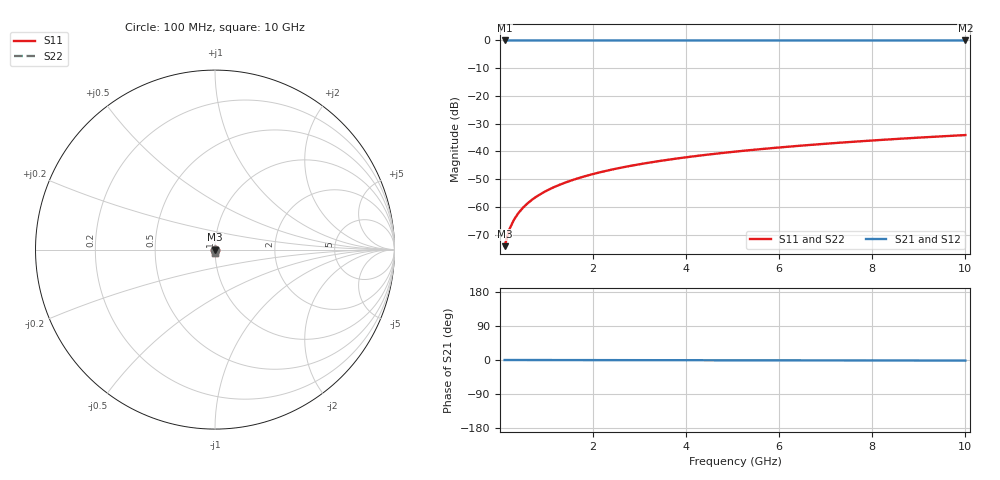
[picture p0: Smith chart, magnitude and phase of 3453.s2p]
# Hz S RI R 50.00
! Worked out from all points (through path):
!   100 points, 100 MHz to 10 GHz, reference 50 ohm
!   highest |S21| = 0.00 dB at 100 MHz (marker M1); lowest = 0.0 dB at 10 GHz (marker M2)
!   lowest |S11| = -74.2 dB at 100 MHz (marker M3), VSWR 1.00, Z = 50 - j0.0195 ohm
!   |S11| at or under -10 dB: start of sweep to end of sweep
!   |S22| runs from -74.2 to -34.1 dB; largest |S21 - S12| = 0
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1e8  1.51e-05 -0.000195  1 -0.000256  1 -0.000256  1.51e-05 -0.000195
2e8  1.49e-05 -0.000391  1 -0.000512  1 -0.000512  1.49e-05 -0.000391
3e8  1.45e-05 -0.000586  1 -0.000768  1 -0.000768  1.45e-05 -0.000586
4e8  1.4e-05 -0.000782  1 -0.00102  1 -0.00102  1.4e-05 -0.000782
5e8  1.34e-05 -0.000977  1 -0.00128  1 -0.00128  1.34e-05 -0.000977
6e8  1.27e-05 -0.00117  1 -0.00154  1 -0.00154  1.27e-05 -0.00117
7e8  1.18e-05 -0.00137  1 -0.00179  1 -0.00179  1.18e-05 -0.00137
8e8  1.09e-05 -0.00156  1 -0.00205  1 -0.00205  1.09e-05 -0.00156
9e8  9.87e-06 -0.00176  1 -0.00231  1 -0.00231  9.87e-06 -0.00176
1.1e9  7.5e-06 -0.00215  1 -0.00282  1 -0.00282  7.5e-06 -0.00215
1.4e9  3.18e-06 -0.00274  1 -0.00359  1 -0.00359  3.18e-06 -0.00274
1.8e9  -4e-06 -0.00352  1 -0.00461  1 -0.00461  -4e-06 -0.00352
2.1e9  -1.04e-05 -0.00411  1 -0.00538  1 -0.00538  -1.04e-05 -0.00411
2.5e9  -2.05e-05 -0.00489  0.9999 -0.00641  0.9999 -0.00641  -2.05e-05 -0.00489
2.9e9  -3.21e-05 -0.00568  0.9999 -0.00744  0.9999 -0.00744  -3.21e-05 -0.00568
3.4e9  -4.89e-05 -0.00666  0.9999 -0.00872  0.9999 -0.00872  -4.89e-05 -0.00666
4.2e9  -8.12e-05 -0.00823  0.9999 -0.0108  0.9999 -0.0108  -8.12e-05 -0.00823
5.1e9  -0.000125 -0.01  0.9998 -0.0131  0.9998 -0.0131  -0.000125 -0.01
5.9e9  -0.000172 -0.0116  0.9998 -0.0152  0.9998 -0.0152  -0.000172 -0.0116
6.7e9  -0.000224 -0.0132  0.9997 -0.0172  0.9997 -0.0172  -0.000224 -0.0132
8.4e9  -0.000359 -0.0165  0.9996 -0.0216  0.9996 -0.0216  -0.000359 -0.0165
1e10  -0.000513 -0.0197  0.9994 -0.0258  0.9994 -0.0258  -0.000513 -0.0197
